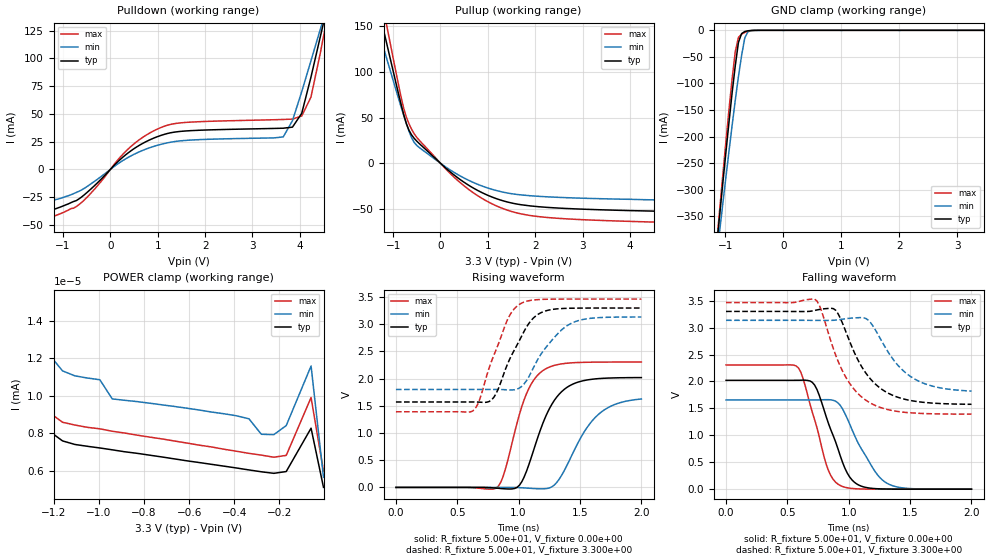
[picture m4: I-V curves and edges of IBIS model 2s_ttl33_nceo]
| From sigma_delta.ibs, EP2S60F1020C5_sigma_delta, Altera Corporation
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[Model] 2s_ttl33_nceo
Model_type I/O
Vinl  = 0.8
Vinh  = 1.7
Vmeas = 1.5675
Rref  = 1M
Cref  = 0pF
Vref  = 0
C_comp  3.00pF  NA  NA
[Temperature Range]  25.000   85.000   0.000
[Voltage Range]   3.300   3.135   3.465
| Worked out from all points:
|   slope of the pulldown table from 0 to 0.495 V, typ, clamps not added: 26.7 ohm
|   slope of the pullup table from 0 to 0.495 V, typ, clamps not added: 23.9 ohm
|   GND clamp passes 1 mA (typ) near -0.62 V on its own axis
|   rising waveform, R_fixture 5.00e+01, V_fixture 0.00e+00: 20-80 % time 215ps typ, 255ps min, 182ps max; typ from 0 V to 2.02 V
|   falling waveform, R_fixture 5.00e+01, V_fixture 0.00e+00: 20-80 % time 188ps typ, 229ps min, 163ps max; typ from 2.02 V to 0 V
|   rising waveform, R_fixture 5.00e+01, V_fixture 3.300e+00: 20-80 % time 213ps typ, 245ps min, 194ps max; typ from 1.57 V to 3.3 V
|   falling waveform, R_fixture 5.00e+01, V_fixture 3.300e+00: 20-80 % time 261ps typ, 271ps min, 248ps max; typ from 3.3 V to 1.58 V
[GND_Clamp]
| voltage   I(typ)   I(min)   I(max)
-3.3V     -2.907A    -2.551A    -3.109A
-1.16V    -416.6mA   -435.9mA   -412.4mA
-1.105V   -355mA     -383.5mA   -345.6mA
-1.05V    -294mA     -331.6mA   -279.5mA
-940mV    -175.2mA   -229.6mA   -151.6mA
-830mV    -67.05mA   -132.2mA   -40.56mA
-775mV    -22.77mA   -87.29mA   -13.36mA
-720mV    -6.04mA    -47.16mA   -7.238mA
-665mV    -2.278mA   -13.9mA    -4.022mA
-610mV    -835.8uA   -2.708mA   -1.836mA
-500mV    -67.54uA   -125.9uA   -161.4uA
3.455V    6.499nA    8.852nA    5.535nA
[Pulldown]
| voltage   I(typ)   I(min)   I(max)
-3.3V     -44mA      -35mA      -49mA
-2.13V    -43mA      -34mA      -51mA
-775mV    -28.89mA   -21.78mA   -34.88mA
435mV     16.77mA    12.2mA     20.68mA
1.205V    32.35mA    23.93mA    39.82mA
3.65V     37.11mA    29.25mA    44.98mA
3.845V    38.1mA     43.94mA    45.3mA
4.04V     50.45mA    69.95mA    48.12mA
4.235V    83.08mA    97.81mA    65.11mA
4.43V     119mA      125.8mA    104.2mA
4.625V    154.9mA    153.9mA    147.2mA
6.6V      508.1mA    444.7mA    560.3mA
[POWER_Clamp]
|voltage   I(typ)   I(min)   I(max)
-3.3V     144.2uA    77.94uA    202.6uA
-1.325V   16.39nA    21.41nA    18.62nA
-1.27V    9.927nA    14.61nA    11.01nA
-1.215V   8.073nA    12.12nA    9.065nA
-1.16V    7.587nA    11.32nA    8.581nA
-995mV    7.211nA    10.85nA    8.231nA
-940mV    7.112nA    9.826nA    8.102nA
-390mV    6.143nA    8.926nA    7.036nA
-225mV    5.858nA    7.92nA     6.717nA
-170mV    5.954nA    8.405nA    6.816nA
-60mV     8.266nA    11.58nA    9.899nA
-5mV      5.11nA     5.648nA    5.98nA
[Pullup]
| voltage   I(typ)   I(min)   I(max)
-3.3V     568.2mA    469.4mA    656.7mA
-1.325V   172.8mA    147.8mA    199.5mA
-1.215V   148.7mA    128.6mA    171.3mA
-1.16V    136.6mA    118.9mA    157.1mA
-1.105V   124.4mA    109.3mA    142.8mA
-775mV    53.02mA    52.12mA    59.92mA
-665mV    36.09mA    35.02mA    43.2mA
-555mV    27.25mA    22.8mA     32.28mA
380mV     -16.51mA   -12.83mA   -19.57mA
1.205V    -39.19mA   -30.2mA    -47.21mA
2.285V    -48.42mA   -36.82mA   -59.5mA
6.6V      -57mA      -43mA      -69mA
[Rising Waveform]
R_fixture = 5.00e+01
V_fixture = 0.00e+00
V_fixture_min = 0.00e+00
V_fixture_max = 0.00e+00
|Time   Typ(v)   Min(v)   Max(v)
0s        0V         0V         0V
817ps     -12.75mV   -49.6uV    -13.18mV
874ps     -24.22mV   401.1uV    205.4mV
1.026ns   105.2mV    -7.095mV   1.488V
1.121ns   677.1mV    -20.82mV   1.968V
1.254ns   1.462V     -6.848mV   2.217V
1.406ns   1.857V     462.5mV    2.286V
1.626ns   1.996V     1.291V     2.304V
1.776ns   2.014V     1.518V     2.306V
2ns       2.02V      1.626V     2.306V
[Falling Waveform]
R_fixture = 5.00e+01
V_fixture = 0.00e+00
V_fixture_min = 0.00e+00
V_fixture_max = 0.00e+00
|Time   Typ(v)   Min(v)   Max(v)
0s        2.021V     1.657V     2.306V
589ps     2.022V     1.656V     2.254V
722ps     1.932V     1.657V     1.289V
836ps     1.211V     1.661V     337.1mV
931ps     617.7mV    1.555V     67.04mV
988ps     297.8mV    1.31V      25.35mV
1.064ns   98.19mV    914.7mV    6.957mV
1.216ns   10.19mV    322.5mV    490.3uV
1.311ns   2.445mV    110.8mV    59.9uV
2ns       -24.74uV   -46.21uV   -12.78uV
[Rising Waveform]
R_fixture = 5.00e+01
V_fixture = 3.300e+00
V_fixture_min = 3.135e+00
V_fixture_max = 3.465e+00
|Time   Typ(v)   Min(v)   Max(v)
0s        1.571V     1.801V     1.391V
627ps     1.571V     1.801V     1.407V
684ps     1.568V     1.801V     1.626V
798ps     1.657V     1.801V     2.431V
931ps     2.378V     1.792V     3.18V
1.026ns   2.789V     1.86V      3.392V
1.159ns   3.185V     2.366V     3.454V
1.406ns   3.295V     2.99V      3.464V
1.576ns   3.299V     3.107V     3.464V
2ns       3.299V     3.134V     3.464V
[Falling Waveform]
R_fixture = 5.00e+01
V_fixture = 3.300e+00
V_fixture_min = 3.135e+00
V_fixture_max = 3.465e+00
|Time   Typ(v)   Min(v)   Max(v)
0s        3.3V       3.135V     3.465V
722ps     3.318V     3.134V     3.528V
779ps     3.344V     3.133V     3.302V
893ps     3.323V     3.139V     2.491V
1.007ns   2.745V     3.173V     1.965V
1.14ns    2.153V     3.168V     1.65V
1.292ns   1.82V      2.655V     1.493V
1.501ns   1.647V     2.096V     1.418V
1.701ns   1.595V     1.902V     1.399V
2ns       1.576V     1.821V     1.392V
[Ramp]
dV/dt_r 1.247e+000/2.280e-010 9.684e-001/2.640e-010 1.397e+000/1.900e-010
dV/dt_f 1.123e+000/2.660e-010 8.651e-001/2.850e-010 1.317e+000/2.470e-010
